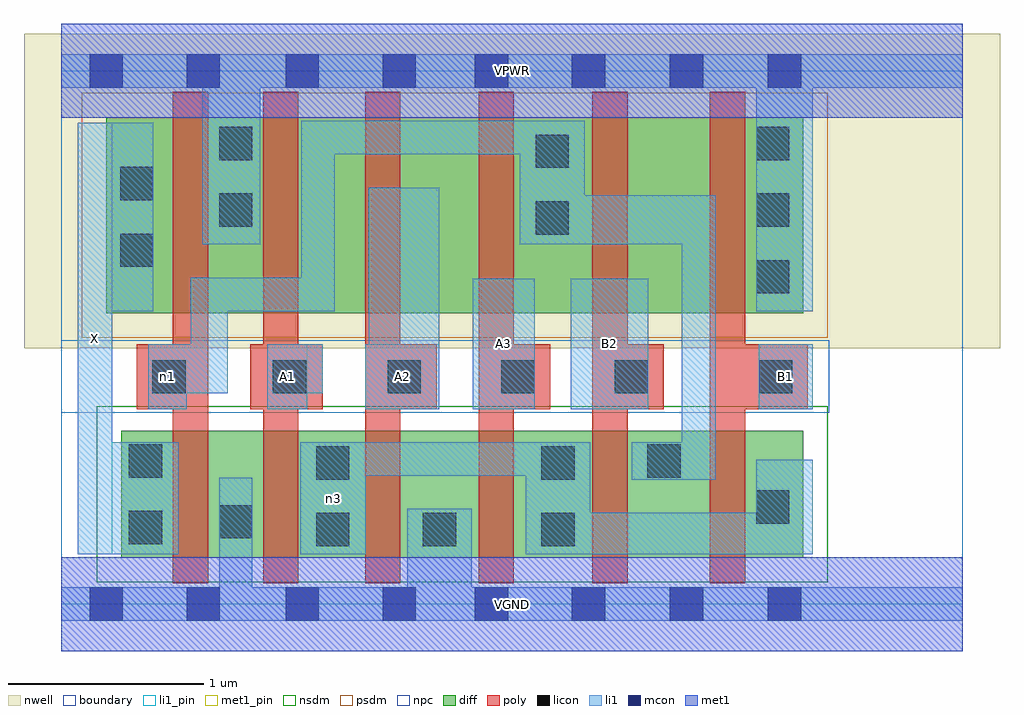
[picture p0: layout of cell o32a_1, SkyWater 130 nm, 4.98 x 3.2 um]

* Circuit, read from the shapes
.subckt o32a_1 A1 A2 A3 B1 B2 VGND VPWR X n1 n3
XM1 VGND n1 X VSUBS sky130_fd_pr__nfet_01v8 w=0.65 l=0.18
XM2 n3 A1 VGND VSUBS sky130_fd_pr__nfet_01v8 w=0.65 l=0.18
XM3 VGND A2 n3 VSUBS sky130_fd_pr__nfet_01v8 w=0.65 l=0.18
XM4 n3 A3 VGND VSUBS sky130_fd_pr__nfet_01v8 w=0.65 l=0.18
XM5 n1 B2 n3 VSUBS sky130_fd_pr__nfet_01v8 w=0.65 l=0.18
XM6 n3 B1 n1 VSUBS sky130_fd_pr__nfet_01v8 w=0.65 l=0.18
XM7 VPWR n1 X n2 sky130_fd_pr__pfet_01v8 w=1 l=0.18
XM8 n4 A1 VPWR n2 sky130_fd_pr__pfet_01v8 w=1 l=0.18
XM9 n5 A2 n4 n2 sky130_fd_pr__pfet_01v8 w=1 l=0.18
XM10 n1 A3 n5 n2 sky130_fd_pr__pfet_01v8 w=1 l=0.18
XM11 n6 B2 n1 n2 sky130_fd_pr__pfet_01v8 w=1 l=0.18
XM12 VPWR B1 n6 n2 sky130_fd_pr__pfet_01v8 w=1 l=0.18
.ends

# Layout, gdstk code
import gdstk
lib = gdstk.Library(unit=1e-6, precision=1e-09)
def R(c, l, rs):  # rectangles x0, y0, x1, y1
    for r in rs: c.add(gdstk.rectangle(r[:2], r[2:], *l))
def A(c, l, x, y, w, h, nx, ny, dx, dy):  # array of equal rectangles
    R(c, l, [(x+i*dx, y+j*dy, x+i*dx+w, y+j*dy+h) for i in range(nx) for j in range(ny)])
nwell = (64, 20)
diff = (65, 20)
poly = (66, 20)
licon = (66, 44)
li1_pin = (67, 16)
li1 = (67, 20)
mcon = (67, 44)
met1_pin = (68, 16)
met1 = (68, 20)
nsdm = (93, 44)
psdm = (94, 20)
npc = (95, 20)
boundary = (235, 4)

o32a_1 = lib.new_cell('o32a_1')
R(o32a_1, nwell, [(-0.19,1.305,4.79,2.91), (0,1.305,4.6,2.91)])
R(o32a_1, diff, [(0.305,0.235,3.785,0.885), (0.23,1.485,3.785,2.485)])
A(o32a_1, poly, 1.55, 0.105, 0.18, 2.51, 3, 1, 0.58, 0)
A(o32a_1, poly, 1.55, 0.995, 0.365, 0.33, 3, 1, 0.58, 0)
R(o32a_1, poly, [(0.57,0.105,0.75,2.615), (1.03,0.105,1.21,2.615), (3.31,0.105,3.49,2.615), (0.385,0.995,0.75,1.325), (0.965,0.995,1.335,1.325), (3.31,0.995,3.81,1.325)])
A(o32a_1, licon, 1.665, 1.075, 0.17, 0.17, 3, 1, 0.58, 0)
A(o32a_1, licon, 3.545, 1.585, 0.17, 0.17, 1, 3, 0, 0.34)
R(o32a_1, licon, [(1.3,0.295,1.47,0.465), (1.845,0.295,2.015,0.465), (2.45,0.295,2.62,0.465), (0.345,0.305,0.515,0.475), (0.805,0.335,0.975,0.505), (3.545,0.41,3.715,0.58), (1.3,0.635,1.47,0.805), (2.45,0.635,2.62,0.805), (0.345,0.645,0.515,0.815), (2.99,0.645,3.16,0.815), (0.465,1.075,0.635,1.245), (1.08,1.075,1.25,1.245), (3.56,1.075,3.73,1.245), (0.3,1.72,0.47,1.89), (2.42,1.885,2.59,2.055), (0.805,1.925,0.975,2.095), (0.3,2.06,0.47,2.23), (2.42,2.225,2.59,2.395), (0.805,2.265,0.975,2.435)])
R(o32a_1, li1_pin, [(0.085,0.255,0.26,2.455), (1.05,0.995,1.255,1.325), (1.55,0.995,1.93,1.325), (2.1,0.995,2.415,1.66), (2.6,0.995,2.995,1.66), (3.56,0.995,3.835,1.325)])
R(o32a_1, li1, [(0,-0.085,4.6,0.085), (0.805,-0.085,0.975,0.645), (1.765,-0.085,2.095,0.485), (0.085,0.255,0.26,2.455), (0.085,0.255,0.6,0.825), (1.22,0.255,1.555,0.825), (2.37,0.255,2.7,0.825), (2.37,0.255,3.835,0.465), (3.545,0.255,3.835,0.735), (2.91,0.635,3.34,0.825), (3.165,0.635,3.34,2.085), (1.22,0.655,2.7,0.825), (0.445,0.995,0.64,1.325), (1.05,0.995,1.255,1.325), (1.55,0.995,1.93,1.325), (1.57,0.995,1.93,2.125), (2.1,0.995,2.415,1.66), (2.6,0.995,2.995,1.66), (3.56,0.995,3.835,1.325), (0.445,1.075,0.85,1.325), (0.66,1.075,0.85,1.665), (1.05,1.075,1.335,1.325), (0.085,1.495,0.47,2.455), (0.66,1.495,1.395,1.665), (1.225,1.495,1.395,2.465), (3.545,1.495,3.835,2.805), (0.72,1.835,1.015,2.805), (2.34,1.835,3.34,2.085), (2.34,1.835,2.67,2.465), (1.225,2.295,2.67,2.465), (0,2.635,4.6,2.805)])
A(o32a_1, mcon, 2.605, -0.085, 0.17, 0.17, 3, 2, 0.5, 2.72)
R(o32a_1, mcon, [(0.145,-0.085,0.315,0.085), (0.64,-0.085,0.81,0.085), (1.145,-0.085,1.315,0.085), (1.64,-0.085,1.81,0.085), (2.11,-0.085,2.28,0.085), (0.145,2.635,0.315,2.805), (0.64,2.635,0.81,2.805), (1.145,2.635,1.315,2.805), (1.64,2.635,1.81,2.805), (2.11,2.635,2.28,2.805)])
R(o32a_1, met1_pin, [(0,-0.24,4.6,0.24), (0,2.48,4.6,2.96)])
R(o32a_1, met1, [(0,-0.24,4.6,0.24), (0,2.48,4.6,2.96)])
R(o32a_1, nsdm, [(0.18,0.11,3.91,1.01)])
R(o32a_1, psdm, [(0.105,1.36,3.91,2.61)])
R(o32a_1, npc, [(0,0.975,3.92,1.345)])
R(o32a_1, boundary, [(0,0,4.6,2.72)])
o32a_1.add(gdstk.Label('A1', (1.152,1.16), layer=67, texttype=5))
o32a_1.add(gdstk.Label('A2', (1.74,1.16), layer=67, texttype=5))
o32a_1.add(gdstk.Label('A3', (2.257,1.327), layer=67, texttype=5))
o32a_1.add(gdstk.Label('B1', (3.697,1.16), layer=67, texttype=5))
o32a_1.add(gdstk.Label('B2', (2.797,1.327), layer=67, texttype=5))
o32a_1.add(gdstk.Label('X', (0.172,1.355), layer=67, texttype=5))
o32a_1.add(gdstk.Label('n3', (1.387,0.54), layer=67, texttype=5))
o32a_1.add(gdstk.Label('n1', (0.542,1.16), layer=67, texttype=5))
o32a_1.add(gdstk.Label('VPWR', (2.3,2.72), layer=68, texttype=5))
o32a_1.add(gdstk.Label('VGND', (2.3,0), layer=68, texttype=5))
o32a_1.add(gdstk.Label('A1', (1.152,1.16), layer=67, texttype=16))
o32a_1.add(gdstk.Label('A2', (1.74,1.16), layer=67, texttype=16))
o32a_1.add(gdstk.Label('A3', (2.257,1.327), layer=67, texttype=16))
o32a_1.add(gdstk.Label('B1', (3.697,1.16), layer=67, texttype=16))
o32a_1.add(gdstk.Label('B2', (2.797,1.327), layer=67, texttype=16))
o32a_1.add(gdstk.Label('X', (0.172,1.355), layer=67, texttype=16))
o32a_1.add(gdstk.Label('VPWR', (2.3,2.72), layer=68, texttype=16))
o32a_1.add(gdstk.Label('VGND', (2.3,0), layer=68, texttype=16))

lib.write_gds('o32a_1.gds')
